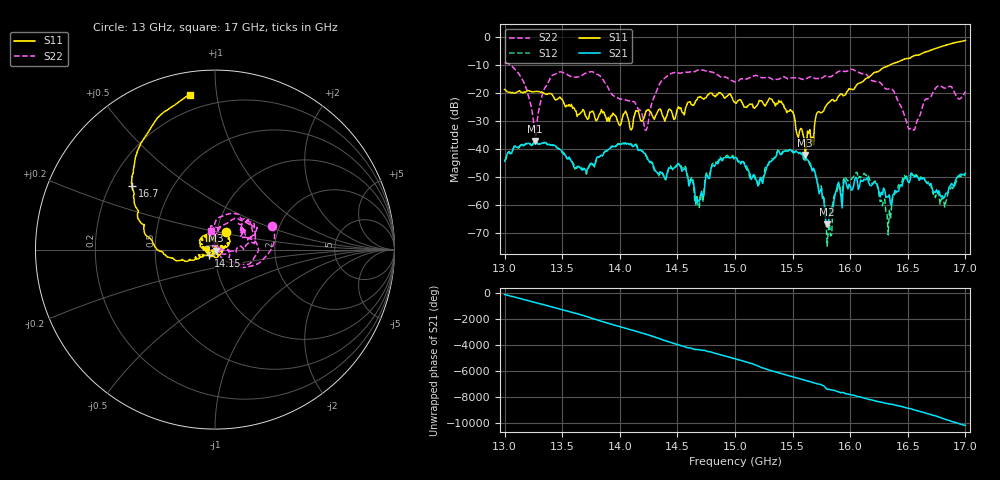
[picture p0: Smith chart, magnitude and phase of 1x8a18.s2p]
!Keysight Technologies,P9374A,MY57211807,A.19.30.04
!Date: Friday, May 08, 2026 14:11:33
!Correction: S11(C  2-Port  )
!S21(C  2-Port  )
!S12(C  2-Port  )
!S22(C  2-Port  )
!S2P File: Measurements: S11, S21, S12, S22:
# Hz S  dB  R 50
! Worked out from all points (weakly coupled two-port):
!   401 points, 13 GHz to 17 GHz, reference 50 ohm
!   highest |S21| = -37.31 dB at 13.26 GHz (marker M1); lowest = -66.9 dB at 15.8 GHz (marker M2)
!   lowest |S11| = -42.2 dB at 15.61 GHz (marker M3), VSWR 1.02, Z = 50.4 - j0.681 ohm
!   |S11| at or under -10 dB: start of sweep to 16.34 GHz
!   |S22| runs from -35.2 to -9.2 dB; largest |S21 - S12| = 0.0015
!   S11 on the Smith chart (normalised r, x): 13 GHz: 1.10, +0.22; 14.15 GHz: 0.93, -0.06; 16.7 GHz: 0.29, +0.31; 17 GHz: 0.11, +0.84
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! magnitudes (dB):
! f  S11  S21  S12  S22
! 13 GHz  -18.7  -44.4  -44.2  -9.2
! 13.16 GHz  -19.9  -38.8  -38.8  -15.6
! 13.26 GHz  -19.4  -37.3  -37.4  -34.2
! 13.41 GHz  -20.4  -38.6  -38.5  -13.8
! 13.67 GHz  -26.7  -47.5  -46.9  -13.7
! 14.15 GHz  -26.5  -39.4  -38.9  -25.0
! 14.23 GHz  -26.2  -42.3  -42.6  -33.2
! 14.34 GHz  -25.8  -49.0  -49.6  -17.2
! 14.55 GHz  -27.1  -47.4  -46.8  -12.6
! 14.67 GHz  -22.4  -57.7  -57.1  -11.9
! 14.82 GHz  -21.0  -46.3  -45.3  -12.9
! 15 GHz  -23.4  -43.0  -43.0  -16.0
! 15.2 GHz  -23.9  -53.3  -53.4  -14.0
! 15.4 GHz  -22.9  -42.1  -41.9  -14.6
! 15.61 GHz  -42.2  -43.5  -44.0  -15.0
! 15.67 GHz  -35.7  -47.9  -47.2  -14.4
! 15.8 GHz  -24.0  -66.9  -74.8  -13.9
! 16.04 GHz  -18.2  -50.9  -48.9  -11.9
! 16.34 GHz  -10.1  -56.5  -61.7  -18.5
! 16.53 GHz  -7.1  -48.6  -48.8  -32.6
! 16.7 GHz  -4.7  -52.4  -53.1  -21.3
! 17 GHz  -1.2  -48.6  -49.1  -19.5
